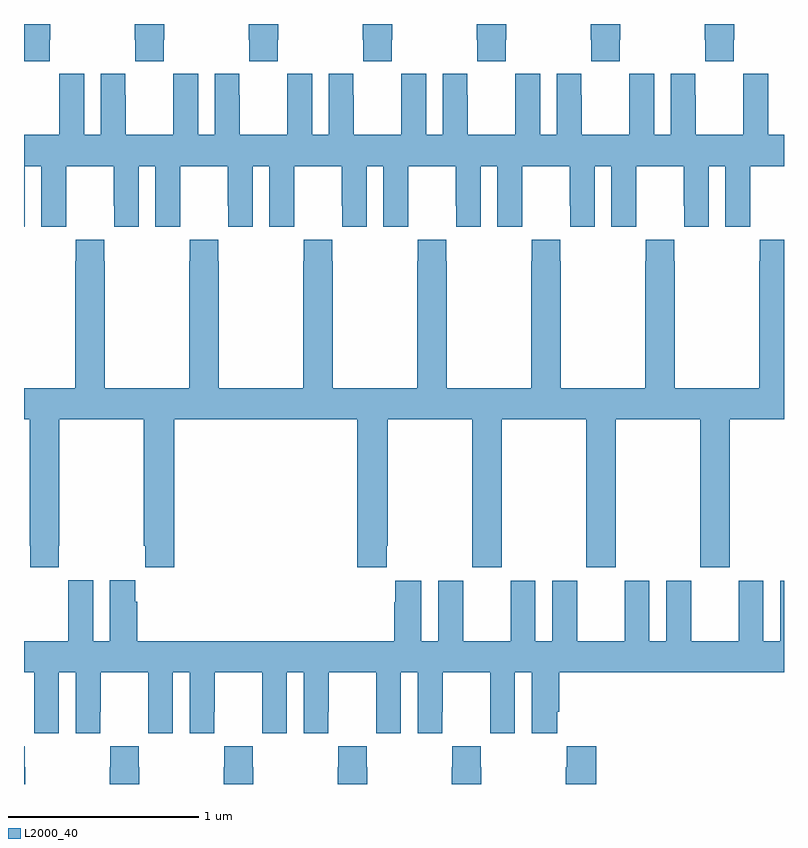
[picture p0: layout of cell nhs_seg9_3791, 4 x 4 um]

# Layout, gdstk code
import gdstk
lib = gdstk.Library(unit=1e-6, precision=1e-09)
def P(c, l, *ps):  # polygons
    for p in ps: c.add(gdstk.Polygon(p, *l))
L2000_40 = (2000, 40)

nhs_seg9_3791 = lib.new_cell('nhs_seg9_3791')
P(nhs_seg9_3791, L2000_40, [(327.735,1198.417),(327.738,1198.417),(327.738,1198.5),(327.583,1198.5),(327.583,1198.417),(327.585,1198.417),(327.585,1198.305),(327.735,1198.305)],
  [(328.335,1198.417),(328.338,1198.417),(328.338,1198.5),(328.183,1198.5),(328.183,1198.417),(328.185,1198.417),(328.185,1198.305),(328.335,1198.305)],
  [(328.935,1198.417),(328.938,1198.417),(328.938,1198.5),(328.783,1198.5),(328.783,1198.417),(328.785,1198.417),(328.785,1198.305),(328.935,1198.305)],
  [(329.535,1198.417),(329.538,1198.417),(329.538,1198.5),(329.383,1198.5),(329.383,1198.417),(329.385,1198.417),(329.385,1198.305),(329.535,1198.305)],
  [(330.135,1198.417),(330.138,1198.417),(330.138,1198.5),(329.983,1198.5),(329.983,1198.417),(329.985,1198.417),(329.985,1198.305),(330.135,1198.305)],
  [(330.735,1198.417),(330.738,1198.417),(330.738,1198.5),(330.583,1198.5),(330.583,1198.417),(330.585,1198.417),(330.585,1198.305),(330.735,1198.305)],
  [(327.135,1198.417),(327.138,1198.417),(327.138,1198.5),(327,1198.5),(327,1198.305),(327.135,1198.305)],
  [(330.222,1197.544),(330.223,1197.544),(330.223,1197.752),(330.473,1197.752),(330.473,1197.544),(330.474,1197.544),(330.474,1197.432),(330.604,1197.432),(330.604,1197.752),(330.692,1197.752),(330.692,1197.432),(330.822,1197.432),(330.822,1197.544),(330.823,1197.544),(330.823,1197.752),(331,1197.752),(331,1197.916),(330.916,1197.916),(330.916,1198.237),(330.786,1198.237),(330.786,1198.124),(330.785,1198.124),(330.785,1197.916),(330.535,1197.916),(330.535,1198.124),(330.534,1198.124),(330.534,1198.237),(330.404,1198.237),(330.404,1197.916),(330.316,1197.916),(330.316,1198.237),(330.186,1198.237),(330.186,1198.124),(330.185,1198.124),(330.185,1197.916),(329.935,1197.916),(329.935,1198.124),(329.934,1198.124),(329.934,1198.237),(329.804,1198.237),(329.804,1197.916),(329.716,1197.916),(329.716,1198.237),(329.586,1198.237),(329.586,1198.124),(329.585,1198.124),(329.585,1197.916),(329.335,1197.916),(329.335,1198.124),(329.334,1198.124),(329.334,1198.237),(329.204,1198.237),(329.204,1197.916),(329.116,1197.916),(329.116,1198.237),(328.986,1198.237),(328.986,1198.124),(328.985,1198.124),(328.985,1197.916),(328.735,1197.916),(328.735,1198.124),(328.734,1198.124),(328.734,1198.237),(328.604,1198.237),(328.604,1197.916),(328.516,1197.916),(328.516,1198.237),(328.386,1198.237),(328.386,1198.124),(328.385,1198.124),(328.385,1197.916),(328.135,1197.916),(328.135,1198.124),(328.134,1198.124),(328.134,1198.237),(328.004,1198.237),(328.004,1197.916),(327.916,1197.916),(327.916,1198.237),(327.786,1198.237),(327.786,1198.124),(327.785,1198.124),(327.785,1197.916),(327.535,1197.916),(327.535,1198.124),(327.534,1198.124),(327.534,1198.237),(327.404,1198.237),(327.404,1197.916),(327.316,1197.916),(327.316,1198.237),(327.186,1198.237),(327.186,1198.124),(327.185,1198.124),(327.185,1197.916),(327,1197.916),(327,1197.432),(327.004,1197.432),(327.004,1197.752),(327.092,1197.752),(327.092,1197.432),(327.222,1197.432),(327.222,1197.544),(327.223,1197.544),(327.223,1197.752),(327.473,1197.752),(327.473,1197.544),(327.474,1197.544),(327.474,1197.432),(327.604,1197.432),(327.604,1197.752),(327.692,1197.752),(327.692,1197.432),(327.822,1197.432),(327.822,1197.544),(327.823,1197.544),(327.823,1197.752),(328.073,1197.752),(328.073,1197.544),(328.074,1197.544),(328.074,1197.432),(328.204,1197.432),(328.204,1197.752),(328.292,1197.752),(328.292,1197.432),(328.422,1197.432),(328.422,1197.544),(328.423,1197.544),(328.423,1197.752),(328.673,1197.752),(328.673,1197.544),(328.674,1197.544),(328.674,1197.432),(328.804,1197.432),(328.804,1197.752),(328.892,1197.752),(328.892,1197.432),(329.022,1197.432),(329.022,1197.544),(329.023,1197.544),(329.023,1197.752),(329.273,1197.752),(329.273,1197.544),(329.274,1197.544),(329.274,1197.432),(329.404,1197.432),(329.404,1197.752),(329.492,1197.752),(329.492,1197.432),(329.622,1197.432),(329.622,1197.544),(329.623,1197.544),(329.623,1197.752),(329.873,1197.752),(329.873,1197.544),(329.874,1197.544),(329.874,1197.432),(330.004,1197.432),(330.004,1197.752),(330.092,1197.752),(330.092,1197.432),(330.222,1197.432)],
  [(328.754,1195.641),(328.909,1195.641),(328.909,1195.753),(328.914,1195.753),(328.914,1196.42),(329.359,1196.42),(329.359,1195.641),(329.514,1195.641),(329.514,1196.42),(329.959,1196.42),(329.959,1195.641),(330.114,1195.641),(330.114,1196.42),(330.559,1196.42),(330.559,1195.641),(330.714,1195.641),(330.714,1196.42),(331,1196.42),(331,1197.364),(330.873,1197.364),(330.873,1197.251),(330.871,1197.251),(330.871,1196.584),(330.426,1196.584),(330.426,1197.251),(330.423,1197.251),(330.423,1197.364),(330.273,1197.364),(330.273,1197.251),(330.271,1197.251),(330.271,1196.584),(329.826,1196.584),(329.826,1197.251),(329.823,1197.251),(329.823,1197.364),(329.673,1197.364),(329.673,1197.251),(329.671,1197.251),(329.671,1196.584),(329.226,1196.584),(329.226,1197.251),(329.223,1197.251),(329.223,1197.364),(329.073,1197.364),(329.073,1197.251),(329.071,1197.251),(329.071,1196.584),(328.626,1196.584),(328.626,1197.251),(328.623,1197.251),(328.623,1197.364),(328.473,1197.364),(328.473,1197.251),(328.471,1197.251),(328.471,1196.584),(328.026,1196.584),(328.026,1197.251),(328.023,1197.251),(328.023,1197.364),(327.873,1197.364),(327.873,1197.251),(327.871,1197.251),(327.871,1196.584),(327.426,1196.584),(327.426,1197.251),(327.423,1197.251),(327.423,1197.364),(327.273,1197.364),(327.273,1197.251),(327.271,1197.251),(327.271,1196.584),(327,1196.584),(327,1196.42),(327.031,1196.42),(327.031,1195.753),(327.033,1195.753),(327.033,1195.641),(327.183,1195.641),(327.183,1195.753),(327.186,1195.753),(327.186,1196.42),(327.631,1196.42),(327.631,1195.753),(327.637,1195.753),(327.637,1195.641),(327.791,1195.641),(327.791,1196.42),(328.754,1196.42)],
  [(328.955,1195.457),(328.949,1195.457),(328.949,1195.252),(327.596,1195.252),(327.596,1195.46),(327.586,1195.46),(327.586,1195.573),(327.452,1195.573),(327.452,1195.252),(327.364,1195.252),(327.364,1195.573),(327.234,1195.573),(327.234,1195.46),(327.233,1195.46),(327.233,1195.252),(327,1195.252),(327,1195.088),(327.053,1195.088),(327.053,1194.88),(327.054,1194.88),(327.054,1194.768),(327.184,1194.768),(327.184,1195.088),(327.272,1195.088),(327.272,1194.768),(327.402,1194.768),(327.402,1194.88),(327.403,1194.88),(327.403,1195.088),(327.653,1195.088),(327.653,1194.88),(327.654,1194.88),(327.654,1194.768),(327.784,1194.768),(327.784,1195.088),(327.872,1195.088),(327.872,1194.768),(328.002,1194.768),(328.002,1194.88),(328.003,1194.88),(328.003,1195.088),(328.253,1195.088),(328.253,1194.88),(328.254,1194.88),(328.254,1194.768),(328.384,1194.768),(328.384,1195.088),(328.472,1195.088),(328.472,1194.768),(328.602,1194.768),(328.602,1194.88),(328.603,1194.88),(328.603,1195.088),(328.853,1195.088),(328.853,1194.88),(328.854,1194.88),(328.854,1194.768),(328.984,1194.768),(328.984,1195.088),(329.072,1195.088),(329.072,1194.768),(329.202,1194.768),(329.202,1194.88),(329.203,1194.88),(329.203,1195.088),(329.453,1195.088),(329.453,1194.88),(329.454,1194.88),(329.454,1194.768),(329.584,1194.768),(329.584,1195.088),(329.672,1195.088),(329.672,1194.768),(329.806,1194.768),(329.806,1194.88),(329.816,1194.88),(329.816,1195.088),(331,1195.088),(331,1195.57),(330.98,1195.57),(330.98,1195.252),(330.892,1195.252),(330.892,1195.57),(330.761,1195.57),(330.761,1195.252),(330.511,1195.252),(330.511,1195.57),(330.38,1195.57),(330.38,1195.252),(330.292,1195.252),(330.292,1195.57),(330.161,1195.57),(330.161,1195.252),(329.911,1195.252),(329.911,1195.57),(329.78,1195.57),(329.78,1195.252),(329.692,1195.252),(329.692,1195.57),(329.561,1195.57),(329.561,1195.252),(329.311,1195.252),(329.311,1195.57),(329.18,1195.57),(329.18,1195.252),(329.092,1195.252),(329.092,1195.57),(328.955,1195.57)],
  [(329.406,1194.587),(329.403,1194.587),(329.403,1194.7),(329.253,1194.7),(329.253,1194.587),(329.251,1194.587),(329.251,1194.5),(329.406,1194.5)],
  [(327.006,1194.587),(327.003,1194.587),(327.003,1194.7),(327,1194.7),(327,1194.5),(327.006,1194.5)],
  [(327.606,1194.587),(327.603,1194.587),(327.603,1194.7),(327.453,1194.7),(327.453,1194.587),(327.451,1194.587),(327.451,1194.5),(327.606,1194.5)],
  [(330.011,1194.7),(329.857,1194.7),(329.857,1194.587),(329.851,1194.587),(329.851,1194.5),(330.011,1194.5)],
  [(328.206,1194.587),(328.203,1194.587),(328.203,1194.7),(328.053,1194.7),(328.053,1194.587),(328.051,1194.587),(328.051,1194.5),(328.206,1194.5)],
  [(328.806,1194.587),(328.803,1194.587),(328.803,1194.7),(328.653,1194.7),(328.653,1194.587),(328.651,1194.587),(328.651,1194.5),(328.806,1194.5)])

lib.write_gds('nhs_seg9_3791.gds')
